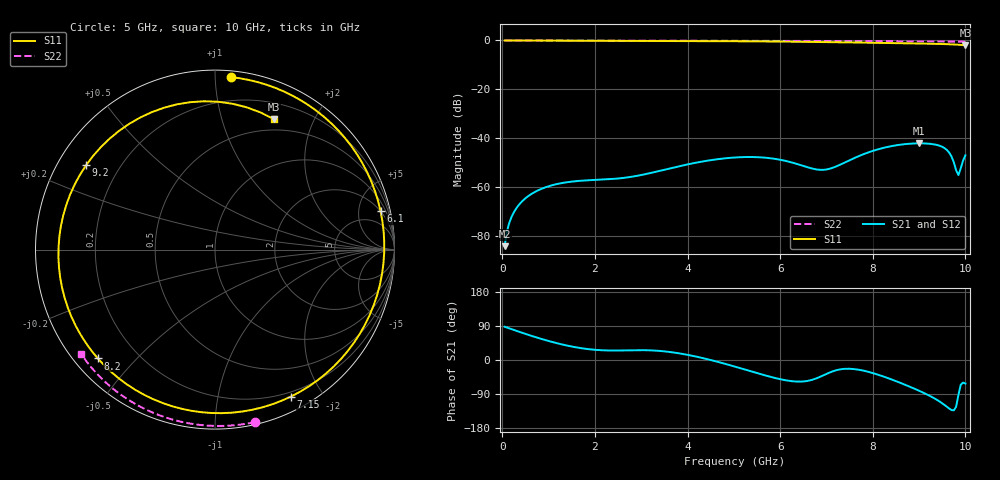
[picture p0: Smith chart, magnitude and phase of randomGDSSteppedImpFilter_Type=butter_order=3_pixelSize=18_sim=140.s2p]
! freq	dB(S11)	phase(S11)	dB(S12)	phase(S12)
!  dB(S21)	phase(S21)	dB(S22)	phase(S22)
!S-par simulation data
#  GHz  S  DB  R 50
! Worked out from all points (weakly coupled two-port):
!   200 points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, 50 MHz to 10 GHz, reference 50 ohm
!   highest |S21| = -42.10 dB at 9 GHz (marker M1); lowest = -84.2 dB at 50 MHz (marker M2)
!   lowest |S11| = -2.0 dB at 10 GHz (marker M3), VSWR 8.87, Z = 18.6 + j74.2 ohm
!   |S11| at or under -10 dB: nowhere
!   |S22| runs from -0.5 to 0.0 dB; largest |S21 - S12| = 0
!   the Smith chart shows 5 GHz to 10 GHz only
!   S11 on the Smith chart (normalised r, x): 5 GHz: 0.04, +1.10; 6.1 GHz: 2.01, +8.30; 7.15 GHz: 0.15, -1.63; 8.2 GHz: 0.07, -0.39; 9.2 GHz: 0.08, +0.30; 10 GHz: 0.37, +1.48
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0.05  -0.00 -3.5  -84.17 87.8  -84.17 87.8  -0.00 -0.8
0.3  -0.03 -20.8  -68.76 77.1  -68.76 77.1  -0.01 -4.9
0.6  -0.06 -41.1  -63.16 64.9  -63.16 64.9  -0.01 -9.8
1.15  -0.09 -76.2  -58.88 45.3  -58.88 45.3  -0.02 -18.7
1.75  -0.12 -110.7  -57.33 30.4  -57.33 30.4  -0.04 -28.3
2.6  -0.15 -154.0  -56.28 25.3  -56.28 25.3  -0.05 -41.6
3.4  -0.19 167.8  -53.35 23.9  -53.35 23.9  -0.07 -53.8
4.3  -0.24 123.4  -49.61 5.9  -49.61 5.9  -0.09 -67.0
5  -0.31 84.6  -47.92 -16.6  -47.92 -16.6  -0.12 -77.0
5.05  -0.32 81.6  -47.85 -18.4  -47.85 -18.4  -0.12 -77.7
5.55  -0.38 50.4  -47.79 -36.3  -47.79 -36.3  -0.14 -84.6
6.1  -0.47 13.0  -49.21 -53.1  -49.21 -53.1  -0.16 -92.1
6.7  -0.60 -30.1  -52.45 -52.0  -52.45 -52.0  -0.19 -100.0
7.15  -0.71 -62.7  -52.00 -29.3  -52.00 -29.3  -0.22 -105.9
7.65  -0.84 -98.3  -47.71 -24.8  -47.71 -24.8  -0.25 -112.3
8.2  -1.00 -137.1  -44.10 -42.3  -44.10 -42.3  -0.30 -119.3
8.35  -1.05 -147.8  -43.44 -48.8  -43.44 -48.8  -0.31 -121.2
9  -1.26 163.4  -42.10 -81.2  -42.10 -81.2  -0.37 -129.3
9.2  -1.33 146.8  -42.23 -92.7  -42.23 -92.7  -0.39 -131.9
9.6  -1.51 109.8  -44.80 -123.4  -44.80 -123.4  -0.43 -136.9
9.85  -1.74 83.1  -55.06 -91.6  -55.06 -91.6  -0.47 -140.1
10  -1.97 65.7  -47.02 -62.0  -47.02 -62.0  -0.50 -142.0
